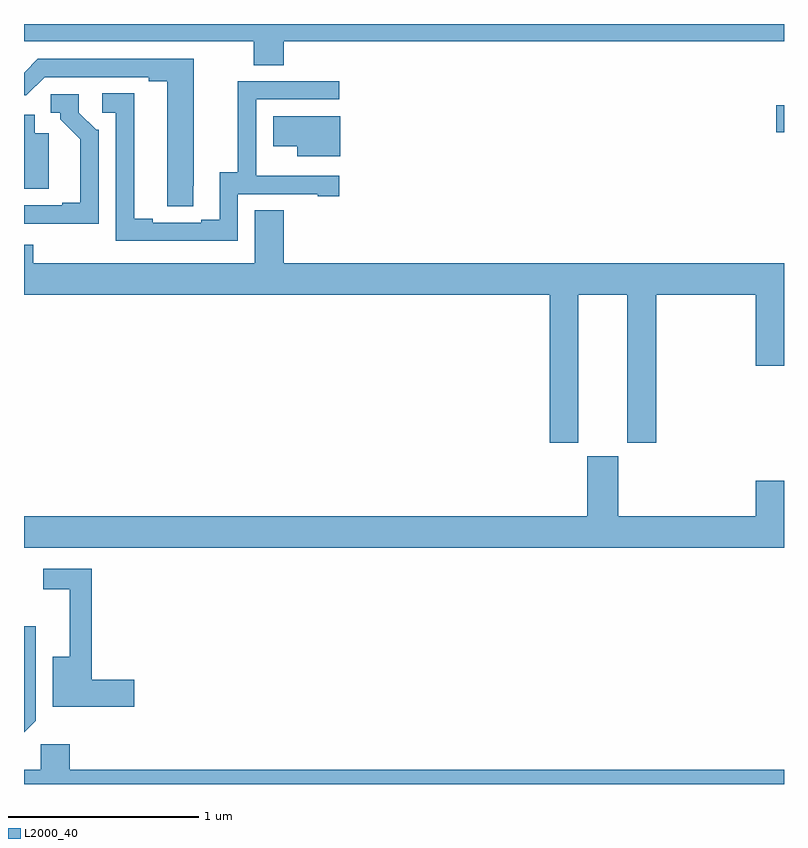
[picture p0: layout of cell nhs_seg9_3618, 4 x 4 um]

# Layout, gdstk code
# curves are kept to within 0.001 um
import gdstk
lib = gdstk.Library(unit=1e-6, precision=1e-09)
def R(c, l, rs):  # rectangles x0, y0, x1, y1
    for r in rs: c.add(gdstk.rectangle(r[:2], r[2:], *l))
def P(c, l, *ps):  # polygons
    for p in ps: c.add(gdstk.Polygon(p, *l))
L2000_40 = (2000, 40)

nhs_seg9_3618 = lib.new_cell('nhs_seg9_3618')
R(nhs_seg9_3618, L2000_40, [(320.958,1207.931,321,1208.073)])
P(nhs_seg9_3618, L2000_40, [(318.368,1208.408),(321,1208.408),(321,1208.5),(317,1208.5),(317,1208.408),(318.208,1208.408),(318.208,1208.284),(318.368,1208.284)],
  [(317.892,1207.648),(317.893,1208.316),(317.073,1208.316),(317,1208.243),(317,1208.124),(317.013,1208.124),(317.109,1208.22),(317.657,1208.22),(317.657,1208.2),(317.753,1208.2),(317.753,1207.54),(317.892,1207.54)],
  [(318.126,1207.605),(318.545,1207.605),(318.545,1207.593),(318.658,1207.593),(318.658,1207.701),(318.224,1207.701),(318.224,1207.702),(318.222,1207.702),(318.222,1208.103),(318.658,1208.103),(318.658,1208.199),(318.124,1208.199),(318.124,1207.721),(318.029,1207.721),(318.029,1207.47),(317.933,1207.47),(317.933,1207.455),(317.677,1207.455),(317.677,1207.475),(317.581,1207.475),(317.581,1208.135),(317.412,1208.135),(317.412,1208.034),(317.484,1208.034),(317.484,1207.359),(318.126,1207.359)],
  [(317.394,1207.944),(317.379,1207.944),(317.289,1208.034),(317.289,1208.13),(317.142,1208.13),(317.142,1208.034),(317.192,1208.034),(317.192,1207.999),(317.297,1207.894),(317.297,1207.558),(317.201,1207.558),(317.201,1207.545),(317,1207.545),(317,1207.449),(317.394,1207.448)],
  [(317.131,1207.924),(317.056,1207.924),(317.056,1208.023),(317,1208.023),(317,1207.634),(317.131,1207.634)],
  [(318.664,1208.014),(318.312,1208.014),(318.312,1207.856),(318.437,1207.856),(318.437,1207.805),(318.664,1207.805)],
  [(319.918,1207.076),(320.174,1207.076),(320.174,1206.297),(320.327,1206.297),(320.327,1207.076),(320.852,1207.076),(320.852,1206.702),(321,1206.702),(321,1207.24),(318.368,1207.24),(318.368,1207.52),(318.215,1207.52),(318.215,1207.24),(317.048,1207.24),(317.048,1207.338),(317,1207.338),(317,1207.076),(319.766,1207.076),(319.766,1206.297),(319.918,1206.297)],
  [(321,1206.097),(320.852,1206.097),(320.852,1205.908),(320.128,1205.908),(320.128,1206.225),(319.964,1206.225),(319.964,1205.908),(317,1205.908),(317,1205.744),(321,1205.744)],
  [(317.581,1205.048),(317.357,1205.048),(317.357,1205.634),(317.1,1205.634),(317.1,1205.526),(317.24,1205.526),(317.24,1205.17),(317.15,1205.17),(317.15,1204.906),(317.581,1204.906)],
  [(317.061,1204.833),(317.061,1205.329),(317,1205.329),(317,1204.772)],
  [(321,1204.576),(317.24,1204.576),(317.24,1204.708),(317.088,1204.708),(317.088,1204.576),(317,1204.576),(317,1204.5),(321,1204.5)])

lib.write_gds('nhs_seg9_3618.gds')
